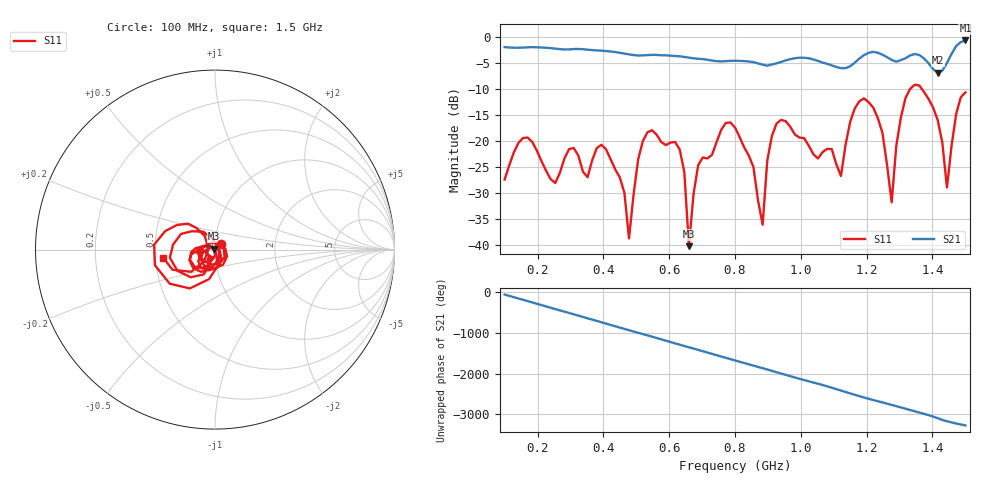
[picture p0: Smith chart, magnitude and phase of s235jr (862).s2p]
! NanoVNA-App
! Date: 2025-09-25 15:10:53
! Start: 100MHz Stop: 1,5GHz Points: 101
! S-Parameter data: F S11 S21 S12 S22
# Hz S RI R 50
!  Frequency  S11_Real  S11_Imag  S21_Real  S21_Imag  S12_Real  S12_Imag  S22_Real  S22_Imag
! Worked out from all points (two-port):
!   101 points, 100 MHz to 1.5 GHz, reference 50 ohm
!   highest |S21| = -0.68 dB at 1.5 GHz (marker M1); lowest = -6.9 dB at 1.416 GHz (marker M2)
!   |S21| within 3 dB of the highest: start of sweep to 621.2 MHz; 1.188 GHz to 1.255 GHz (67.22 MHz wide, 5.5 % of centre) (the widest 2 of 4)
!   lowest |S11| = -40.3 dB at 660 MHz (marker M3), VSWR 1.02, Z = 49.2 + j0.544 ohm
!   |S11| at or under -10 dB: start of sweep to 1.332 GHz; 1.367 GHz to end of sweep
!   S12 and S22 are empty: the file has one direction only
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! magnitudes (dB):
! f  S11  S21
! 100 MHz  -27.5  -2.0
! 170 MHz  -19.4  -2.0
! 338 MHz  -26.0  -2.4
! 408 MHz  -21.6  -2.7
! 478 MHz  -38.8  -3.4
! 520 MHz  -20.1  -3.6
! 576 MHz  -20.3  -3.5
! 632 MHz  -21.7  -3.7
! 660 MHz  -40.3  -4.0
! 688 MHz  -24.7  -4.2
! 800 MHz  -17.4  -4.6
! 884 MHz  -36.2  -5.3
! 926 MHz  -16.7  -5.1
! 1.038 GHz  -22.6  -4.3
! 1.122 GHz  -26.8  -6.0
! 1.192 GHz  -11.9  -3.5
! 1.248 GHz  -18.5  -3.4
! 1.276 GHz  -31.9  -4.4
! 1.332 GHz  -10.0  -3.6
! 1.416 GHz  -16.0  -6.9
! 1.444 GHz  -29.0  -5.0
! 1.5 GHz  -10.7  -0.7
